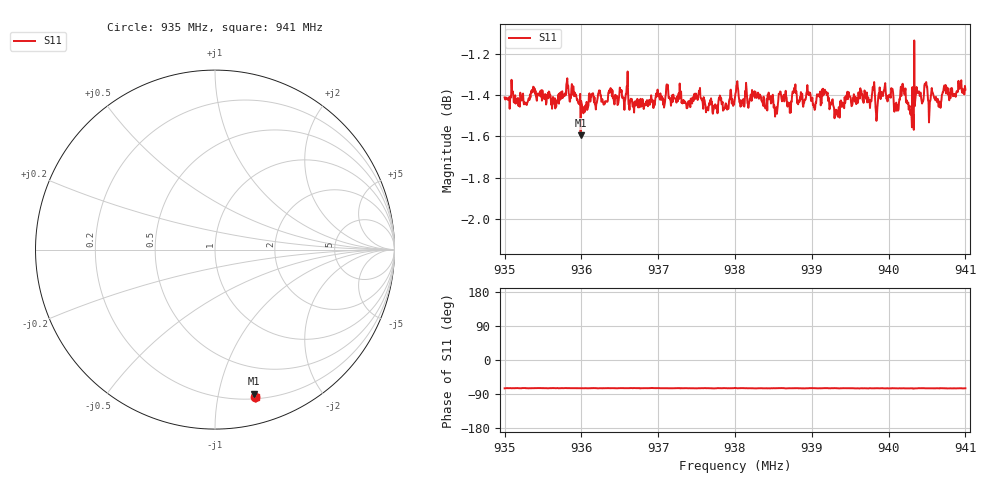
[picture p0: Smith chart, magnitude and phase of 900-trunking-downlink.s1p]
! Calibrated averaged scanner-service zoom
# Hz S RI R 50
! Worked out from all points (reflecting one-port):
!   1001 points, 935 MHz to 941 MHz, reference 50 ohm
!   lowest |S11| = -1.6 dB at 935.99 MHz (marker M1), VSWR 10.92, Z = 12.2 - j64 ohm
!   phase of S11 starts at -75 deg and turns +0 deg over the sweep
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9.35e8  0.2235 -0.8202
9.3575e8  0.2321 -0.8209
9.3599e8  0.2187 -0.803
9.365e8  0.2356 -0.8217
9.3725e8  0.2305 -0.8188
9.3773e8  0.2232 -0.8164
9.38e8  0.2382 -0.8163
9.38276e8  0.2228 -0.821
9.38528e8  0.2251 -0.8134
9.3875e8  0.2276 -0.822
9.38888e8  0.2223 -0.8159
9.3899e8  0.2307 -0.8165
9.39098e8  0.2269 -0.8197
9.39164e8  0.2311 -0.8206
9.39314e8  0.2289 -0.8127
9.395e8  0.2288 -0.8192
9.39848e8  0.2248 -0.8107
9.39932e8  0.2243 -0.8224
9.401e8  0.2228 -0.8179
9.4019e8  0.2271 -0.8246
9.4025e8  0.2191 -0.8182
9.40298e8  0.2218 -0.812
9.40364e8  0.2229 -0.8256
9.40424e8  0.2268 -0.8189
9.40568e8  0.224 -0.8229
9.407e8  0.2317 -0.8197
9.40778e8  0.2216 -0.8252
9.41e8  0.2264 -0.8233
